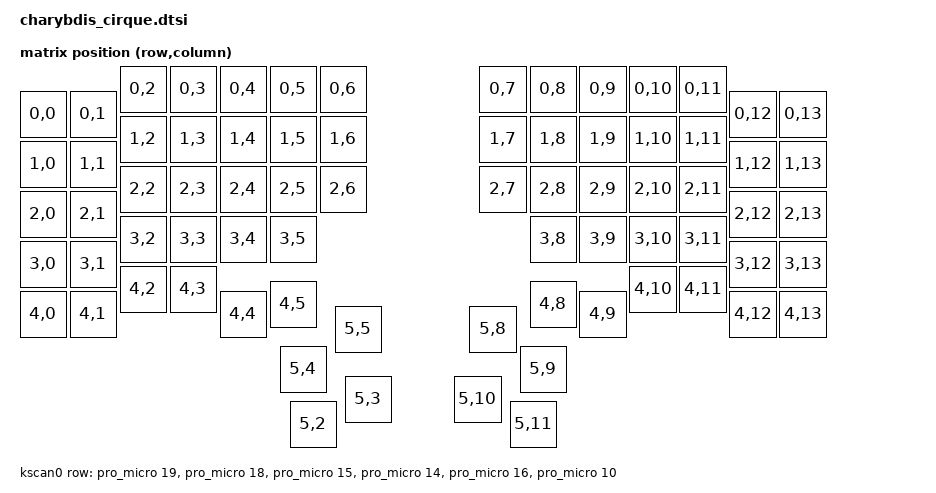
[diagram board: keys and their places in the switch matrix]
#include <dt-bindings/zmk/matrix_transform.h>
#include <physical_layouts.dtsi>

/ {
    physical_layout0: physical_layout_0 {
        compatible = "zmk,physical-layout";
        display-name = "default_layout";

        kscan = <&kscan0>;
        transform = <&matrix_transform0>;

        keys  //                     w   h    x    y     rot    rx    ry
            = <&key_physical_attrs 100 100    0   50       0     0     0>
            , <&key_physical_attrs 100 100  100   50       0     0     0>
            , <&key_physical_attrs 100 100  200    0       0     0     0>
            , <&key_physical_attrs 100 100  300    0       0     0     0>
            , <&key_physical_attrs 100 100  400    0       0     0     0>
            , <&key_physical_attrs 100 100  500    0       0     0     0>
            , <&key_physical_attrs 100 100  600    0       0     0     0>
            , <&key_physical_attrs 100 100  920    0       0     0     0>
            , <&key_physical_attrs 100 100 1020    0       0     0     0>
            , <&key_physical_attrs 100 100 1120    0       0     0     0>
            , <&key_physical_attrs 100 100 1220    0       0     0     0>
            , <&key_physical_attrs 100 100 1320    0       0     0     0>
            , <&key_physical_attrs 100 100 1420   50       0     0     0>
            , <&key_physical_attrs 100 100 1520   50       0     0     0>
            , <&key_physical_attrs 100 100    0  150       0     0     0>
            , <&key_physical_attrs 100 100  100  150       0     0     0>
            , <&key_physical_attrs 100 100  200  100       0     0     0>
            , <&key_physical_attrs 100 100  300  100       0     0     0>
            , <&key_physical_attrs 100 100  400  100       0     0     0>
            , <&key_physical_attrs 100 100  500  100       0     0     0>
            , <&key_physical_attrs 100 100  600  100       0     0     0>
            , <&key_physical_attrs 100 100  920  100       0     0     0>
            , <&key_physical_attrs 100 100 1020  100       0     0     0>
            , <&key_physical_attrs 100 100 1120  100       0     0     0>
            , <&key_physical_attrs 100 100 1220  100       0     0     0>
            , <&key_physical_attrs 100 100 1320  100       0     0     0>
            , <&key_physical_attrs 100 100 1420  150       0     0     0>
            , <&key_physical_attrs 100 100 1520  150       0     0     0>
            , <&key_physical_attrs 100 100    0  250       0     0     0>
            , <&key_physical_attrs 100 100  100  250       0     0     0>
            , <&key_physical_attrs 100 100  200  200       0     0     0>
            , <&key_physical_attrs 100 100  300  200       0     0     0>
            , <&key_physical_attrs 100 100  400  200       0     0     0>
            , <&key_physical_attrs 100 100  500  200       0     0     0>
            , <&key_physical_attrs 100 100  600  200       0     0     0>
            , <&key_physical_attrs 100 100  920  200       0     0     0>
            , <&key_physical_attrs 100 100 1020  200       0     0     0>
            , <&key_physical_attrs 100 100 1120  200       0     0     0>
            , <&key_physical_attrs 100 100 1220  200       0     0     0>
            , <&key_physical_attrs 100 100 1320  200       0     0     0>
            , <&key_physical_attrs 100 100 1420  250       0     0     0>
            , <&key_physical_attrs 100 100 1520  250       0     0     0>
            , <&key_physical_attrs 100 100    0  350       0     0     0>
            , <&key_physical_attrs 100 100  100  350       0     0     0>
            , <&key_physical_attrs 100 100  200  300       0     0     0>
            , <&key_physical_attrs 100 100  300  300       0     0     0>
            , <&key_physical_attrs 100 100  400  300       0     0     0>
            , <&key_physical_attrs 100 100  500  300       0     0     0>
            , <&key_physical_attrs 100 100 1020  300       0     0     0>
            , <&key_physical_attrs 100 100 1120  300       0     0     0>
            , <&key_physical_attrs 100 100 1220  300       0     0     0>
            , <&key_physical_attrs 100 100 1320  300       0     0     0>
            , <&key_physical_attrs 100 100 1420  350       0     0     0>
            , <&key_physical_attrs 100 100 1520  350       0     0     0>
            , <&key_physical_attrs 100 100    0  450       0     0     0>
            , <&key_physical_attrs 100 100  100  450       0     0     0>
            , <&key_physical_attrs 100 100  200  400       0     0     0>
            , <&key_physical_attrs 100 100  300  400       0     0     0>
            , <&key_physical_attrs 100 100  400  450       0     0     0>
            , <&key_physical_attrs 100 100  500  430       0     0     0>
            , <&key_physical_attrs 100 100 1020  430       0     0     0>
            , <&key_physical_attrs 100 100 1120  450       0     0     0>
            , <&key_physical_attrs 100 100 1220  400       0     0     0>
            , <&key_physical_attrs 100 100 1320  400       0     0     0>
            , <&key_physical_attrs 100 100 1420  450       0     0     0>
            , <&key_physical_attrs 100 100 1520  450       0     0     0>
            , <&key_physical_attrs 100 100  520  560       0     0     0>
            , <&key_physical_attrs 100 100  630  480       0     0     0>
            , <&key_physical_attrs 100 100  900  480       0     0     0>
            , <&key_physical_attrs 100 100 1000  560       0     0     0>
            , <&key_physical_attrs 100 100  540  670       0     0     0>
            , <&key_physical_attrs 100 100  650  620       0     0     0>
            , <&key_physical_attrs 100 100  870  620       0     0     0>
            , <&key_physical_attrs 100 100  980  670       0     0     0>
            ;
    };
};

/ {
    chosen {
        zmk,kscan = &kscan0;
        zmk,matrix_transform = &physical_layout_0;
    };

    default_transform: keymap_transform_0 {
        compatible = "zmk,matrix-transform";
		columns = <14>;
		rows = <6>;
		map = <
    RC(0,0) RC(0,1) RC(0,2) RC(0,3) RC(0,4) RC(0,5)  RC(0,6)  RC(0,7) RC(0,8) RC(0,9) RC(0,10) RC(0,11) RC(0,12) RC(0,13)
    RC(1,0) RC(1,1) RC(1,2) RC(1,3) RC(1,4) RC(1,5)  RC(1,6)  RC(1,7) RC(1,8) RC(1,9) RC(1,10) RC(1,11) RC(1,12) RC(1,13)
    RC(2,0) RC(2,1) RC(2,2) RC(2,3) RC(2,4) RC(2,5)  RC(2,6)  RC(2,7) RC(2,8) RC(2,9) RC(2,10) RC(2,11) RC(2,12) RC(2,13)
    RC(3,0) RC(3,1) RC(3,2) RC(3,3) RC(3,4) RC(3,5)                   RC(3,8) RC(3,9) RC(3,10) RC(3,11) RC(3,12) RC(3,13)
    RC(4,0) RC(4,1) RC(4,2) RC(4,3) RC(4,4) RC(4,5)                   RC(4,8) RC(4,9) RC(4,10) RC(4,11) RC(4,12) RC(4,13)   
                                   RC(5,4) RC(5,5)                    RC(5,8) RC(5,9) 
                                   RC(5,2) RC(5,3)                    RC(5,10) RC(5,11)

		>;
    };

   kscan0: kscan {        
		compatible = "zmk,kscan-gpio-matrix";
		label = "KSCAN";

		diode-direction = "col2row";
		       row-gpios= <&pro_micro 19 (GPIO_ACTIVE_HIGH | GPIO_PULL_DOWN)> // D4
                        , <&pro_micro 18 (GPIO_ACTIVE_HIGH | GPIO_PULL_DOWN)> // C6
                        , <&pro_micro 15 (GPIO_ACTIVE_HIGH | GPIO_PULL_DOWN)> // C6
                        , <&pro_micro 14 (GPIO_ACTIVE_HIGH | GPIO_PULL_DOWN)> // D7
                        , <&pro_micro 16 (GPIO_ACTIVE_HIGH | GPIO_PULL_DOWN)> // D7
                        , <&pro_micro 10 (GPIO_ACTIVE_HIGH | GPIO_PULL_DOWN)> // E6
			;
	};
};

&physical_layout_0{

	transform = <&default_transform>;

	kscan = <&kscan0>;

};



zephyr_udc0: &usbd { 

    compatible = "nordic,nrf-usbd"; 

    status = "okay"; 

};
